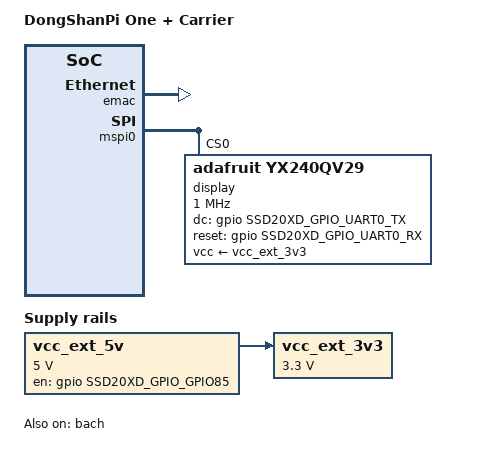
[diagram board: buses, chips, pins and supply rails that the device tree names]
// SPDX-License-Identifier: GPL-2.0-or-later
/*
 * Copyright (c) 2021 thingy.jp.
 * Author: Daniel Palmer <daniel@thingy.jp>
 */

/dts-v1/;
#include "mstar-infinity2m-ssd202d-100ask-dongshanpione.dts"

#include <dt-bindings/gpio/gpio.h>

/ {
	model = "DongShanPi One + Carrier";

	vcc_ext_5v: reg_ext_5v {
		compatible = "regulator-fixed";
		regulator-name = "vcc_ext_5v";
		regulator-type = "voltage";
		regulator-min-microvolt = <5000000>;
		regulator-max-microvolt = <5000000>;
		gpios = <&gpio SSD20XD_GPIO_GPIO85 0>;
		enable-active-high;
	};

	vcc_ext_3v3: reg_ext_3v3 {
		compatible = "regulator-fixed";
		regulator-name = "vcc_ext_3v3";
		regulator-type = "voltage";
		regulator-min-microvolt = <3300000>;
		regulator-max-microvolt = <3300000>;
		vin-supply = <&vcc_ext_5v>;
	};
};


&emac {
	pinctrl-names = "default";
	pinctrl-0 = <&emac_mode1_pins>, <&pm_led_mode1_pins>;
	status = "okay";
};

&bach {
	status = "okay";
};

&mspi0 {
	pinctrl-names = "default";
	pinctrl-0 = <&spi0_mode5_pins>;
	status = "okay";
#if 0	
	spidev0: spi@0 {
        compatible = "lwn,bk4";
        spi-max-frequency = <1000000>;
        reg = <0>;
	};
#endif
	display@0{
		compatible = "adafruit,yx240qv29", "ilitek,ili9341";
		reg = <0>;
		spi-max-frequency = <1000000>;
		dc-gpios = <&gpio SSD20XD_GPIO_UART0_TX GPIO_ACTIVE_HIGH>;
		reset-gpios = <&gpio SSD20XD_GPIO_UART0_RX GPIO_ACTIVE_HIGH>;
		vcc-supply = <&vcc_ext_3v3>;
	};
};
